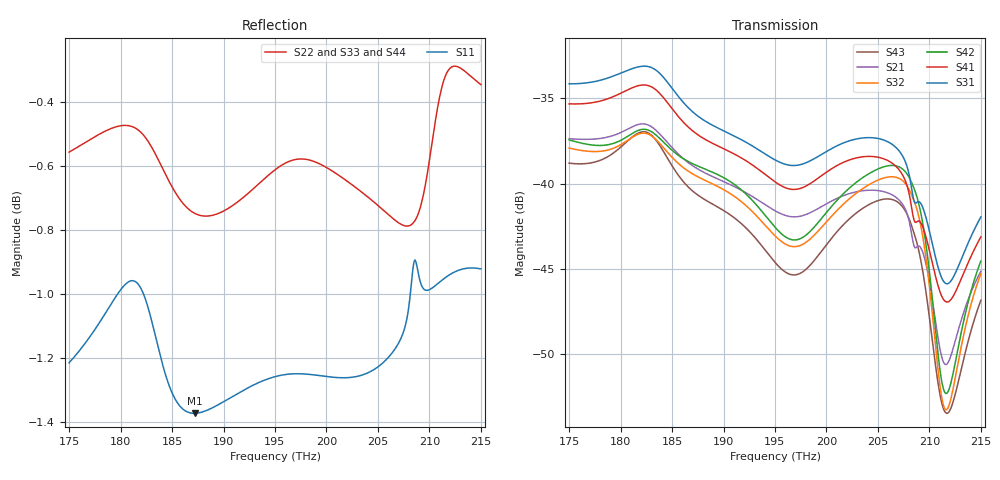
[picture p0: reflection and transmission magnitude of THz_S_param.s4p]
! Created Mon Jul 25 09:22:13 2022
# hz S ri R 50
! 4 Port Network Data from SP1.SP block
! freq  reS11  imS11  reS12  imS12  reS13  imS13  reS14  imS14
!  reS21  imS21  reS22  imS22  reS23  imS23  reS24  imS24
!  reS31  imS31  reS32  imS32  reS33  imS33  reS34  imS34
!  reS41  imS41  reS42  imS42  reS43  imS43  reS44  imS44
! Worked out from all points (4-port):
!   401 points, 175 THz to 215 THz, reference 50 ohm
!   strongest paths, dB at 175 THz, 185 THz, 195 THz, 205 THz, 215 THz:
!     S31: -34.1, -34.4, -38.6, -37.4, -42.0
!     S41: -35.3, -35.6, -39.9, -38.5, -43.1
!     S42: -37.4, -38.0, -42.6, -39.1, -44.6
!     S32: -37.9, -38.5, -43.1, -39.8, -45.3
!     S21: -37.4, -37.9, -41.6, -40.4, -45.2
!     S43: -38.8, -39.0, -44.6, -41.0, -46.9
!   lowest |S11| = -1.4 dB at 187.2 THz (marker M1), VSWR 12.68, Z = 3.94 - j0.768 ohm
!   |S11| at or under -10 dB: nowhere
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1.75e14  -0.8637 -0.1003  0.0121 -0.00616  0.0174 -0.00905  0.0152 -0.008
         0.0121 -0.00616  -0.9357 -0.0654  0.0104 -0.00734  0.0108 -0.00798
         0.0174 -0.00905  0.0104 -0.00734  -0.9138 -0.0859  0.00949 -0.00646
         0.0152 -0.008  0.0108 -0.00798  0.00949 -0.00646  -0.9199 -0.082
1.872e14  -0.8534 -0.0264  0.00936 -0.0061  0.0127 -0.00976  0.0113 -0.00849
          0.00936 -0.0061  -0.9175 -0.00707  0.00883 -0.00584  0.0097 -0.00592
          0.0127 -0.00976  0.00883 -0.00584  -0.8957 -0.0229  0.00707 -0.00619
          0.0113 -0.00849  0.0097 -0.00592  0.00707 -0.00619  -0.8999 -0.0195
1.968e14  -0.866 -0.00781  0.00776 -0.00187  0.0109 -0.00294  0.00928 -0.0025
          0.00776 -0.00187  -0.9353 0.00563  0.00646 -0.000909  0.00677 -0.00086
          0.0109 -0.00294  0.00646 -0.000909  -0.9189 0.00315  0.00528 -0.00107
          0.00928 -0.0025  0.00677 -0.00086  0.00528 -0.00107  -0.925 0.00341
2.074e14  -0.8785 0.00213  0.00813 -0.00307  0.0111 -0.00456  0.00982 -0.00395
          0.00813 -0.00307  -0.9134 0.0218  0.01 -0.00183  0.0109 -0.00164
          0.0111 -0.00456  0.01 -0.00183  -0.8915 0.0196  0.00825 -0.00222
          0.00982 -0.00395  0.0109 -0.00164  0.00825 -0.00222  -0.8966 0.0207
2.092e14  -0.894 0.0242  0.00594 -0.00251  0.00815 -0.00306  0.00717 -0.00263
          0.00594 -0.00251  -0.9205 0.00366  0.00639 -0.00377  0.00711 -0.00387
          0.00815 -0.00306  0.00639 -0.00377  -0.9064 0.00422  0.00499 -0.00309
          0.00717 -0.00263  0.00711 -0.00387  0.00499 -0.00309  -0.9102 0.00619
2.116e14  -0.896 0.034  0.00292 0.00029  0.00507 0.00042  0.00448 0.000393
          0.00292 0.00029  -0.9643 0.0162  0.00213 0.000382  0.00237 0.00046
          0.00507 0.00042  0.00213 0.000382  -0.9464 0.0223  0.0021 0.000298
          0.00448 0.000393  0.00237 0.00046  0.0021 0.000298  -0.9478 0.0222
2.15e14  -0.8975 0.0574  0.00385 0.00397  0.00593 0.00534  0.00516 0.00469
         0.00385 0.00397  -0.9595 0.0546  0.0023 0.00492  0.00251 0.00536
         0.00593 0.00534  0.0023 0.00492  -0.9452 0.0657  0.00212 0.00402
         0.00516 0.00469  0.00251 0.00536  0.00212 0.00402  -0.9475 0.063
